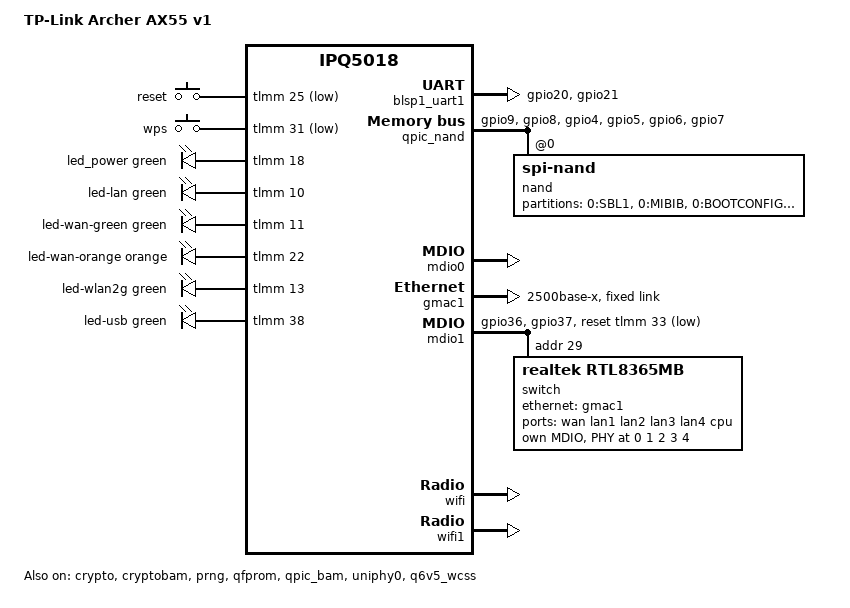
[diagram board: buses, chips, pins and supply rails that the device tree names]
// SPDX-License-Identifier: GPL-2.0-or-later OR MIT

/dts-v1/;

#include "ipq5018.dtsi"
#include "ipq5018-ess.dtsi"
#include "ipq5018-qcn6122.dtsi"

#include <dt-bindings/gpio/gpio.h>
#include <dt-bindings/input/input.h>
#include <dt-bindings/leds/common.h>

/ {
	model = "TP-Link Archer AX55 v1";
	compatible = "tplink,archer-ax55-v1", "qcom,ipq5018";

	aliases {
		serial0 = &blsp1_uart1;
		led-boot = &led_power;
		led-failsafe = &led_power;
		led-running = &led_power;
		led-upgrade = &led_power;
	};

	chosen {
		stdout-path = "serial0:115200n8";
		/*
		 * Stage 3a brings the board up via an initramfs image booted
		 * from RAM (TFTP); root= is unused for now and is revisited
		 * with the on-flash layout in stage 3e.
		 */
		bootargs-append = " root=/dev/ubiblock0_1 coherent_pool=2M";
	};

	keys {
		compatible = "gpio-keys";
		pinctrl-0 = <&button_pins>;
		pinctrl-names = "default";

		button-reset {
			label = "reset";
			gpios = <&tlmm 25 GPIO_ACTIVE_LOW>;
			linux,code = <KEY_RESTART>;
			debounce-interval = <60>;
		};

		button-wps {
			label = "wps";
			gpios = <&tlmm 31 GPIO_ACTIVE_LOW>;
			linux,code = <KEY_WPS_BUTTON>;
			debounce-interval = <60>;
		};
	};

	leds {
		compatible = "gpio-leds";
		pinctrl-0 = <&led_pins>;
		pinctrl-names = "default";

		/*
		 * LED GPIOs were derived for stage 3a and still need to be
		 * confirmed against the real board. NOTE: GPIO39 is the
		 * RTL8367S reset (OEM reset_gpio), NOT a 5GHz-WLAN LED - the
		 * 5GHz LED node was removed here and must be re-identified.
		 */
		led_power: led-power {
			color = <LED_COLOR_ID_GREEN>;
			function = LED_FUNCTION_POWER;
			gpios = <&tlmm 18 GPIO_ACTIVE_HIGH>;
		};

		led-lan {
			color = <LED_COLOR_ID_GREEN>;
			function = LED_FUNCTION_LAN;
			gpios = <&tlmm 10 GPIO_ACTIVE_HIGH>;
		};

		led-wan-green {
			color = <LED_COLOR_ID_GREEN>;
			function = LED_FUNCTION_WAN_ONLINE;
			gpios = <&tlmm 11 GPIO_ACTIVE_HIGH>;
		};

		led-wan-orange {
			color = <LED_COLOR_ID_ORANGE>;
			function = LED_FUNCTION_WAN;
			gpios = <&tlmm 22 GPIO_ACTIVE_HIGH>;
		};

		led-wlan2g {
			color = <LED_COLOR_ID_GREEN>;
			function = LED_FUNCTION_WLAN_2GHZ;
			gpios = <&tlmm 13 GPIO_ACTIVE_HIGH>;
		};

		led-usb {
			color = <LED_COLOR_ID_GREEN>;
			function = LED_FUNCTION_USB;
			gpios = <&tlmm 38 GPIO_ACTIVE_HIGH>;
		};
	};
};

&sleep_clk {
	clock-frequency = <32000>;
};

&xo_board_clk {
	clock-div = <4>;
	clock-mult = <1>;
};

&blsp1_uart1 {
	pinctrl-0 = <&serial_0_pins>;
	pinctrl-names = "default";
	status = "okay";
};

&crypto {
	status = "okay";
};

&cryptobam {
	status = "okay";
};

&prng {
	status = "okay";
};

&qfprom {
	status = "okay";
};

&qpic_bam {
	status = "okay";
};

&qpic_nand {
	pinctrl-0 = <&qpic_pins>;
	pinctrl-names = "default";
	status = "okay";

	nand@0 {
		compatible = "spi-nand";
		reg = <0>;

		nand-ecc-engine = <&qpic_nand>;
		nand-ecc-strength = <4>;
		nand-ecc-step-size = <512>;
		nand-bus-width = <8>;

		/*
		 * Layout from the stock firmware device tree (OEM
		 * "IPQ5018/AP-MP03.3"). Dual rootfs (rootfs / rootfs_1);
		 * the final OpenWrt flashing layout is handled in stage 3e.
		 */
		partitions {
			compatible = "fixed-partitions";
			#address-cells = <1>;
			#size-cells = <1>;

			partition@0 {
				label = "0:SBL1";
				reg = <0x0 0x80000>;
				read-only;
			};

			partition@80000 {
				label = "0:MIBIB";
				reg = <0x80000 0x80000>;
				read-only;
			};

			partition@100000 {
				label = "0:BOOTCONFIG";
				reg = <0x100000 0x40000>;
				read-only;
			};

			partition@140000 {
				label = "0:BOOTCONFIG1";
				reg = <0x140000 0x40000>;
				read-only;
			};

			partition@180000 {
				label = "0:QSEE";
				reg = <0x180000 0x100000>;
				read-only;
			};

			partition@280000 {
				label = "0:DEVCFG";
				reg = <0x280000 0x40000>;
				read-only;
			};

			partition@2c0000 {
				label = "0:CDT";
				reg = <0x2c0000 0x40000>;
				read-only;
			};

			partition@300000 {
				label = "0:APPSBLENV";
				reg = <0x300000 0x80000>;
			};

			partition@380000 {
				label = "0:APPSBL";
				reg = <0x380000 0x140000>;
				read-only;
			};

			partition@4c0000 {
				label = "0:ART";
				reg = <0x4c0000 0x100000>;
				read-only;
			};

			partition@5c0000 {
				label = "0:TRAINING";
				reg = <0x5c0000 0x80000>;
				read-only;
			};

			partition@640000 {
				label = "rootfs";
				reg = <0x640000 0x2a00000>;
			};

			partition@3040000 {
				label = "rootfs_1";
				reg = <0x3040000 0x2a00000>;
			};

			partition@5a40000 {
				label = "tp_data";
				reg = <0x5a40000 0x840000>;
				read-only;
			};

			partition@6280000 {
				label = "radio";
				reg = <0x6280000 0x440000>;
				read-only;
			};

			partition@66c0000 {
				label = "data";
				reg = <0x66c0000 0x80000>;
			};
		};
	};
};

/*
 * ===========================================================================
 * Ethernet (kernel 6.12 DWMAC + DSA, all verified on hardware 2026-07-06).
 *
 *   IPQ5018 gmac1 -> uniphy0 PCS -> 2.5G HSGMII trunk -> RTL8367S DSA switch
 *   All FIVE front jacks are RTL8367S internal PHYs:
 *     blue WAN = phy0 ("wan"), LAN1-4 = phy1-4 ("lan1".."lan4")
 *   The SoC's internal GE PHY (mdio0:7/gmac0) is NOT bonded out -> disabled.
 *
 *   RTL8367S: MDIO addr 29 on mdio1, reset GPIO 33 (the OEM DTS's "GPIO39"
 *   is wrong/unused). Requires the rtl8365mb SGMII/HSGMII patch (0918) +
 *   rtl8367s-sgmii-firmware. Stock runs the trunk at 1G SGMII; 2.5G HSGMII
 *   verified working with this driver.
 * ===========================================================================
 */

/*
 * The IPQ5018 internal GE PHY (mdio0 addr 7 / gmac0) is NOT wired to any
 * jack on this board: all five front jacks (blue "WAN" + LAN1-4) hang off
 * the RTL8367S's five internal PHYs (verified per-jack on hardware, see
 * the switch ports below). Keep gmac0 disabled.
 */
&gmac0 {
	status = "disabled";
};

&mdio0 {
	status = "okay";
};

/* LAN trunk PCS */
&uniphy0 {
	status = "okay";
};

&gmac1 {
	status = "okay";

	phy-mode = "2500base-x";

	fixed-link {
		speed = <2500>;
		full-duplex;
	};
};

&mdio1 {
	status = "okay";

	pinctrl-0 = <&mdio1_pins>;
	pinctrl-names = "default";
	reset-gpios = <&tlmm 33 GPIO_ACTIVE_LOW>;

	/*
	 * RTL8367S (OEM labels it "qca83xx"). MDIO-connected (realtek-mdio).
	 * reg = 29: confirmed correct (Angel666 working port + forum). The
	 * switch RESET is GPIO33 (Angel666 "switch = <&tlmm 33 0>" + Sunshainy),
	 * NOT the OEM-labelled GPIO39 - using 39 left the chip in reset and MDIO
	 * read back 0xffff ("unrecognized switch").
	 */
	switch@29 {
		compatible = "realtek,rtl8365mb";
		reg = <29>;

		/*
		 * The RTL8367S internal user-side MDIO bus. The DSA realtek
		 * driver (rtl83xx_setup_user_mdio) requires this child node -
		 * without it probe fails with "no MDIO bus node". LAN1-4 hang
		 * off the switch's internal PHYs 0-3.
		 */
		mdio {
			compatible = "realtek,smi-mdio";
			#address-cells = <1>;
			#size-cells = <0>;

			switchphy0: ethernet-phy@0 {
				reg = <0>;
			};

			switchphy1: ethernet-phy@1 {
				reg = <1>;
			};

			switchphy2: ethernet-phy@2 {
				reg = <2>;
			};

			switchphy3: ethernet-phy@3 {
				reg = <3>;
			};

			switchphy4: ethernet-phy@4 {
				reg = <4>;
			};
		};

		ports {
			#address-cells = <1>;
			#size-cells = <0>;

			/*
			 * Physical jack -> switch PHY map (verified per-jack):
			 * blue WAN = phy0, LAN1 = phy1, LAN2 = phy2,
			 * LAN3 = phy3, LAN4 = phy4. The SoC's internal GE PHY
			 * is not bonded out.
			 */
			port@0 {
				reg = <0>;
				label = "wan";
				phy-handle = <&switchphy0>;
			};

			port@1 {
				reg = <1>;
				label = "lan1";
				phy-handle = <&switchphy1>;
			};

			port@2 {
				reg = <2>;
				label = "lan2";
				phy-handle = <&switchphy2>;
			};

			port@3 {
				reg = <3>;
				label = "lan3";
				phy-handle = <&switchphy3>;
			};

			port@4 {
				reg = <4>;
				label = "lan4";
				phy-handle = <&switchphy4>;
			};

			port@6 {
				reg = <6>;
				label = "cpu";
				ethernet = <&gmac1>;
				phy-mode = "2500base-x";

				fixed-link {
					speed = <2500>;
					full-duplex;
				};
			};
		};
	};
};

/*
 * ===========================================================================
 * Stage 3d - WiFi (IPQ5018 2.4 GHz + QCN6122/QCN6102 5 GHz).
 * GL-B3000 style: 5 GHz radio on UPD ID 3 (q6_wcss_pd3), no boot-args,
 * so the (board-specific, unexposed) QCN6122 reset GPIO is not needed.
 * Per-device pre-cal is pulled from 0:ART by the 11-ath11k-caldata hotplug.
 * ===========================================================================
 */
&q6v5_wcss {
	status = "okay";
};

&wifi {
	status = "okay";

	qcom,rproc = <&q6_wcss_pd1>;
	qcom,userpd-subsys-name = "q6v5_wcss_userpd1";
	qcom,ath11k-fw-memory-mode = <1>;
	qcom,ath11k-calibration-variant = "TP-LINK-AX55-V1";
	qcom,bdf-addr = <0x4c400000>;
};

&wifi1 {
	status = "okay";

	qcom,rproc = <&q6_wcss_pd3>;
	qcom,userpd-subsys-name = "q6v5_wcss_userpd3";
	qcom,ath11k-fw-memory-mode = <1>;
	qcom,ath11k-calibration-variant = "TP-LINK-AX55-V1";
	qcom,bdf-addr = <0x4d100000>;
	qcom,m3-dump-addr = <0x4df00000>;
};

&tlmm {
	button_pins: button-state {
		pins = "gpio25", "gpio31";
		function = "gpio";
		drive-strength = <8>;
		bias-pull-up;
	};

	led_pins: led-state {
		pins = "gpio10", "gpio11", "gpio13", "gpio18", "gpio22",
		       "gpio38";
		function = "gpio";
		drive-strength = <2>;
		bias-disable;
	};

	mdio1_pins: mdio1-state {
		mdc-pins {
			pins = "gpio36";
			function = "mdc";
			drive-strength = <8>;
			bias-pull-up;
		};

		mdio-pins {
			pins = "gpio37";
			function = "mdio";
			drive-strength = <8>;
			bias-pull-up;
		};
	};

	qpic_pins: qpic-state {
		clock-pins {
			pins = "gpio9";
			function = "qspi_clk";
			drive-strength = <8>;
			bias-disable;
		};

		cs-pins {
			pins = "gpio8";
			function = "qspi_cs";
			drive-strength = <8>;
			bias-disable;
		};

		data-pins {
			pins = "gpio4", "gpio5", "gpio6", "gpio7";
			function = "qspi_data";
			drive-strength = <8>;
			bias-disable;
		};
	};

	serial_0_pins: uart0-state {
		pins = "gpio20", "gpio21";
		function = "blsp0_uart0";
		bias-disable;
	};
};
